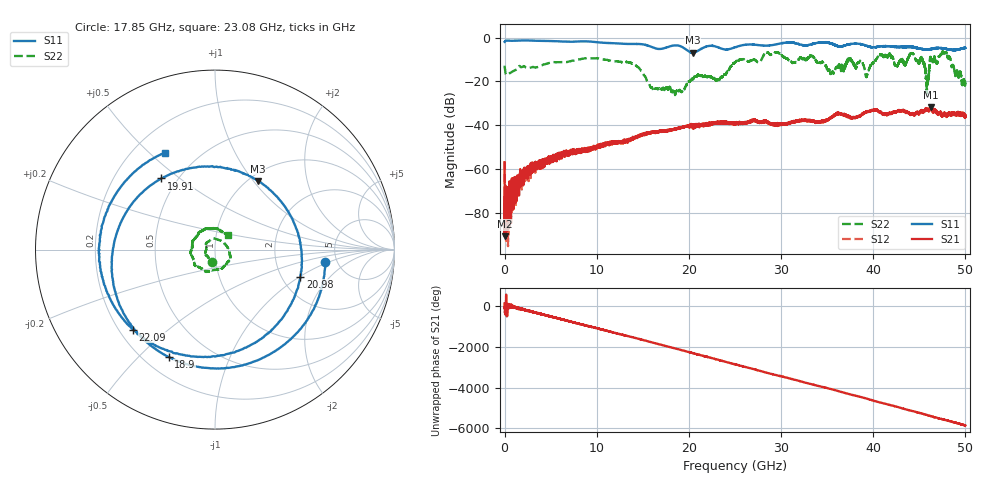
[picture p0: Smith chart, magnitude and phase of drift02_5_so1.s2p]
!Created with skrf (http://scikit-rf.org).
# Hz S RI R 50.0
!freq ReS11 ImS11 ReS21 ImS21 ReS12 ImS12 ReS22 ImS22
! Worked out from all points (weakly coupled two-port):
!   10001 points, 300 kHz to 50 GHz, reference 50 ohm
!   highest |S21| = -31.74 dB at 46.22 GHz (marker M1); lowest = -90.6 dB at 10.3 MHz (marker M2)
!   lowest |S11| = -6.9 dB at 20.41 GHz (marker M3), VSWR 2.64, Z = 55 + j52.7 ohm
!   |S11| at or under -10 dB: nowhere
!   |S22| runs from -26.3 to -6.3 dB; largest |S21 - S12| = 0.0027
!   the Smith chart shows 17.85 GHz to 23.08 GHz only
!   S11 on the Smith chart (normalised r, x): 17.85 GHz: 4.02, -0.91; 18.9 GHz: 0.30, -0.62; 19.91 GHz: 0.41, +0.43; 20.98 GHz: 2.53, -1.02; 22.09 GHz: 0.26, -0.38; 23.08 GHz: 0.33, +0.56
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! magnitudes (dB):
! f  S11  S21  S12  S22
! 300 kHz  -2.0  -56.8  -56.5  -12.8
! 10.3 MHz  -2.1  -90.6  -75.8  -13.4
! 270.3 MHz  -1.4  -74.5  -75.8  -17.0
! 2.97 GHz  -1.4  -59.1  -61.2  -13.5
! 8.335 GHz  -1.7  -50.9  -51.3  -9.8
! 13.7 GHz  -3.0  -46.4  -46.3  -11.6
! 16.67 GHz  -5.2  -42.8  -42.9  -23.5
! 17.85 GHz  -4.2  -42.3  -42.1  -22.9
! 18.9 GHz  -3.7  -41.6  -41.2  -24.4
! 19.91 GHz  -6.1  -40.4  -40.2  -19.9
! 20.41 GHz  -6.9  -40.5  -39.7  -19.0
! 20.98 GHz  -6.0  -40.5  -39.7  -16.9
! 22.09 GHz  -3.9  -39.5  -39.8  -17.8
! 23.08 GHz  -4.3  -38.9  -38.8  -19.3
! 25 GHz  -4.5  -38.8  -39.1  -11.4
! 33.34 GHz  -3.0  -38.0  -38.1  -8.3
! 39.31 GHz  -3.8  -33.9  -33.9  -17.4
! 41.67 GHz  -4.0  -34.8  -34.9  -7.8
! 45.85 GHz  -5.5  -33.0  -33.0  -21.9
! 46.22 GHz  -5.3  -31.7  -31.8  -9.1
! 47.75 GHz  -4.9  -34.7  -34.4  -7.0
! 50 GHz  -4.8  -35.7  -35.5  -20.2
